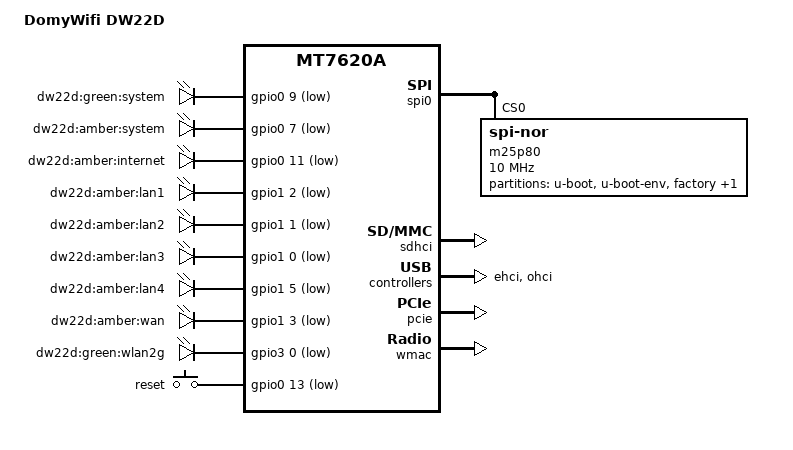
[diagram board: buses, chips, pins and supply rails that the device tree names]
/dts-v1/;

#include "mt7620a.dtsi"

#include <dt-bindings/gpio/gpio.h>
#include <dt-bindings/input/input.h>

/ {
	compatible = "DW22D", "ralink,mt7620a-soc";
	model = "DomyWifi DW22D";

	gpio-leds {
		compatible = "gpio-leds";

		system_green {
			label = "dw22d:green:system";
			gpios = <&gpio0 9 GPIO_ACTIVE_LOW>;
		};

		system_amber {
			label = "dw22d:amber:system";
			gpios = <&gpio0 7 GPIO_ACTIVE_LOW>;
		};

		internet_amber {
			label = "dw22d:amber:internet";
			gpios = <&gpio0 11 GPIO_ACTIVE_LOW>;
		};

		lan1 {
			label = "dw22d:amber:lan1";
			gpios = <&gpio1 2 GPIO_ACTIVE_LOW>;
		};

		lan2 {
			label = "dw22d:amber:lan2";
			gpios = <&gpio1 1 GPIO_ACTIVE_LOW>;
		};

		lan3 {
			label = "dw22d:amber:lan3";
			gpios = <&gpio1 0 GPIO_ACTIVE_LOW>;
		};

		lan4 {
			label = "dw22d:amber:lan4";
			gpios = <&gpio1 5 GPIO_ACTIVE_LOW>;
		};

		wan {
			label = "dw22d:amber:wan";
			gpios = <&gpio1 3 GPIO_ACTIVE_LOW>;
		};

		wlan2g {
			label = "dw22d:green:wlan2g";
			gpios = <&gpio3 0 GPIO_ACTIVE_LOW>;
		};
	};

	gpio-keys-polled {
		compatible = "gpio-keys-polled";
		#address-cells = <1>;
		#size-cells = <0>;
		poll-interval = <20>;
		reset {
			label = "reset";
			gpios = <&gpio0 13 GPIO_ACTIVE_LOW>;
			linux,code = <KEY_RESTART>;
		};
	};
};

&gpio1 {
	status = "okay";
};

&gpio3 {
	status = "okay";
};

&spi0 {
	status = "okay";

	m25p80@0 {
		#address-cells = <1>;
		#size-cells = <1>;
		compatible = "jedec,spi-nor";
		reg = <0>;
		spi-max-frequency = <10000000>;
		m25p,fast-read;

		partition@0 {
			label = "u-boot";
			reg = <0x0 0x30000>;
		};

		partition@30000 {
			label = "u-boot-env";
			reg = <0x30000 0x10000>;
		};

		factory: partition@40000 {
			label = "factory";
			reg = <0x40000 0x10000>;
		};

		partition@50000 {
			label = "firmware";
			reg = <0x50000 0xfb0000>;
		};
	};
};

&pinctrl {
	state_default: pinctrl0 {
		gpio {
			ralink,group = "uartf", "rgmii1", "wled";
			ralink,function = "gpio";
		};
	};
};

&ethernet {
	pinctrl-names = "default";
	pinctrl-0 = <&ephy_pins>;
	mtd-mac-address = <&factory 0x28>;
	mediatek,portmap = "wllll";
};

&sdhci {
	status = "okay";
};

&ehci {
	status = "okay";
};

&ohci {
	status = "okay";
};

&pcie {
	status = "okay";

	pcie-bridge {
		mt76@0,0 {
			reg = <0x0000 0 0 0 0>;
			device_type = "pci";
			mediatek,mtd-eeprom = <&factory 0x8000>;
			ieee80211-freq-limit = <5000000 6000000>;

			led {
				led-sources = <0>;
				led-active-low;
			};
		};
	};
};

&wmac {
	ralink,mtd-eeprom = <&factory 0x0>;
};
